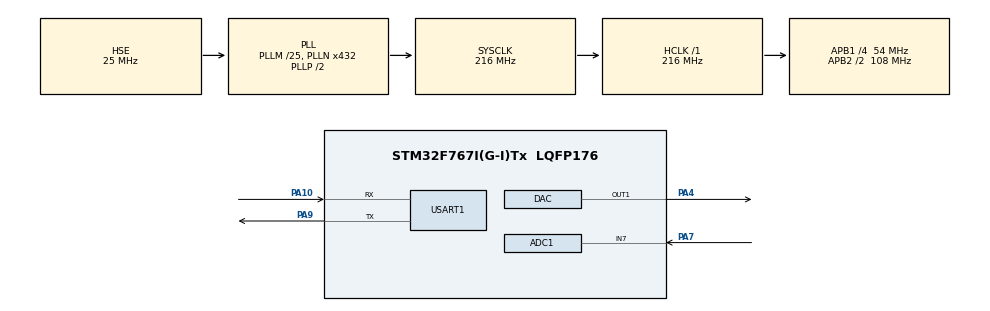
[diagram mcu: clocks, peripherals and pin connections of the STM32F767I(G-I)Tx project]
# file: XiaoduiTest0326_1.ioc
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ADC1.Channel-0\#ChannelRegularConversion=ADC_CHANNEL_7
ADC1.ContinuousConvMode=DISABLE
ADC1.DMAContinuousRequests=ENABLE
ADC1.ExternalTrigConv=ADC_EXTERNALTRIGCONV_T5_TRGO
ADC1.NbrOfConversionFlag=1
ADC1.Rank-0\#ChannelRegularConversion=1
ADC1.SamplingTime-0\#ChannelRegularConversion=ADC_SAMPLETIME_3CYCLES
ADC1.ScanConvMode=ADC_SCAN_DISABLE
ADC1.master=1
DAC.DAC_Trigger=DAC_TRIGGER_T7_TRGO
Dma.ADC1.0.Direction=DMA_PERIPH_TO_MEMORY
Dma.ADC1.0.FIFOMode=DMA_FIFOMODE_DISABLE
Dma.ADC1.0.Instance=DMA2_Stream0
Dma.ADC1.0.MemDataAlignment=DMA_MDATAALIGN_HALFWORD
Dma.ADC1.0.MemInc=DMA_MINC_ENABLE
Dma.ADC1.0.Mode=DMA_CIRCULAR
Dma.ADC1.0.PeriphDataAlignment=DMA_PDATAALIGN_HALFWORD
Dma.ADC1.0.PeriphInc=DMA_PINC_DISABLE
Dma.ADC1.0.Priority=DMA_PRIORITY_LOW
Dma.DAC1.1.Direction=DMA_MEMORY_TO_PERIPH
Dma.DAC1.1.FIFOMode=DMA_FIFOMODE_DISABLE
Dma.DAC1.1.Instance=DMA1_Stream5
Dma.DAC1.1.MemDataAlignment=DMA_MDATAALIGN_HALFWORD
Dma.DAC1.1.MemInc=DMA_MINC_ENABLE
Dma.DAC1.1.Mode=DMA_CIRCULAR
Dma.DAC1.1.PeriphDataAlignment=DMA_PDATAALIGN_HALFWORD
Dma.DAC1.1.PeriphInc=DMA_PINC_DISABLE
Dma.DAC1.1.Priority=DMA_PRIORITY_LOW
Dma.Request0=ADC1
Dma.Request1=DAC1
Mcu.Family=STM32F7
Mcu.Name=STM32F767I(G-I)Tx
Mcu.Package=LQFP176
NVIC.ADC_IRQn=true\:2\:0\:true\:false\:true\:true\:true
NVIC.DMA1_Stream5_IRQn=true\:0\:0\:false\:false\:true\:false\:true
NVIC.DMA2_Stream0_IRQn=true\:0\:0\:false\:false\:true\:false\:true
NVIC.PriorityGroup=NVIC_PRIORITYGROUP_4
NVIC.TIM3_IRQn=true\:1\:0\:true\:false\:true\:true\:true
NVIC.TIM5_IRQn=true\:4\:0\:true\:false\:true\:true\:true
NVIC.USART1_IRQn=true\:3\:0\:true\:false\:true\:true\:true
PA10.Mode=Asynchronous
PA10.Signal=USART1_RX
PA4.Signal=COMP_DAC1_group
PA7.Signal=ADCx_IN7
PA9.Mode=Asynchronous
PA9.Signal=USART1_TX
PH0/OSC_IN.Mode=HSE-External-Oscillator
PH0/OSC_IN.Signal=RCC_OSC_IN
PH1/OSC_OUT.Mode=HSE-External-Oscillator
PH1/OSC_OUT.Signal=RCC_OSC_OUT
ProjectManager.HeapSize=0x200
ProjectManager.StackSize=0x400
ProjectManager.TargetToolchain=STM32CubeIDE
RCC.AHBFreq_Value=216000000
RCC.APB1CLKDivider=RCC_HCLK_DIV4
RCC.APB1Freq_Value=54000000
RCC.APB1TimFreq_Value=108000000
RCC.APB2CLKDivider=RCC_HCLK_DIV2
RCC.APB2Freq_Value=108000000
RCC.APB2TimFreq_Value=216000000
RCC.CortexFreq_Value=216000000
RCC.HCLKFreq_Value=216000000
RCC.HSE_VALUE=25000000
RCC.HSI_VALUE=16000000
RCC.LSE_VALUE=32768
RCC.PLLM=25
RCC.PLLN=432
RCC.PLLSourceVirtual=RCC_PLLSOURCE_HSE
RCC.SYSCLKFreq_VALUE=216000000
RCC.SYSCLKSource=RCC_SYSCLKSOURCE_PLLCLK
RCC.USBFreq_Value=216000000
RCC.VCOOutputFreq_Value=432000000
SH.ADCx_IN7.0=ADC1_IN7,IN7
SH.COMP_DAC1_group.0=DAC_OUT1,DAC_OUT1
TIM3.Period=9999
TIM3.Prescaler=10799
TIM5.Period=10545
TIM5.Prescaler=1
TIM5.TIM_MasterOutputTrigger=TIM_TRGO_UPDATE
TIM7.Period=10799
TIM7.Prescaler=0
TIM7.TIM_MasterOutputTrigger=TIM_TRGO_UPDATE
USART1.VirtualMode-Asynchronous=VM_ASYNC
VP_TIM3_VS_ClockSourceINT.Mode=Internal
VP_TIM5_VS_ClockSourceINT.Mode=Internal
VP_TIM7_VS_ClockSourceINT.Mode=Enable_Timer
board=custom

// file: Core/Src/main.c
/* USER CODE BEGIN Header */
/**
  ******************************************************************************
  * @file           : main.c
  * @brief          : Main program body
  ******************************************************************************
  * @attention
  *
  * <h2><center>&copy; Copyright (c) 2021 STMicroelectronics.
  * All rights reserved.</center></h2>
  *
  * This software component is licensed by ST under BSD 3-Clause license,
  * the "License"; You may not use this file except in compliance with the
  * License. You may obtain a copy of the License at:
  *                        opensource.org/licenses/BSD-3-Clause
  *
  ******************************************************************************
  */
/* USER CODE END Header */
#include "main.h"
#include "adc.h"
#include "dac.h"
#include "dma.h"
#include "tim.h"
#include "usart.h"
#include "gpio.h"

/* USER CODE BEGIN Includes */
#include "stdio.h"
#include "string.h"
#include "arm_math.h"
/* USER CODE END Includes */

/* USER CODE BEGIN PD */
#define print(X) HAL_UART_Transmit(&huart1,(uint8_t *)X,strlen(X),1000);
#define FFT_LENGTH 4096
float fft_inputbuf[FFT_LENGTH*2];      // fft输入数组
float fft_outputbuf[FFT_LENGTH];       // fft输出数组
arm_cfft_radix4_instance_f32 scfft;
/* USER CODE END PD */

/* USER CODE BEGIN PM */
uint16_t graph[200];
void Generatre_graph(void)
{
    for (int i=0;i<100;i++)
        graph[i]=(uint16_t)(2.1/3.3*4096.0);
    for (int i=100;i<200;i++)
        graph[i]=0;
}
/* USER CODE END PM */

/* USER CODE BEGIN PV */
uint16_t ADC_Value[FFT_LENGTH];
int i,j;char outputValue[20];
char freq[30],volt[20],resultADC[20],Result[20];   // voltage(电压)
float frequency,voltage;
float Vpp,Vmax,Vmin,temp;
uint8_t convertEnable;
uint16_t outFreq;  // 存放DAC输出的频率
int fft_outMax;   // 后�?�指示整个fft_out数组中最大一项的index
float resultFreq;  // 存放输出频率结果
// 它对应的就是基频，也即这个信号的频率�??????
/* USER CODE END PV */

void SystemClock_Config(void);

int main(void)
{

  /* MCU Configuration--------------------------------------------------------*/

  /* Reset of all peripherals, Initializes the Flash interface and the Systick. */
  HAL_Init();

  /* Configure the system clock */
  SystemClock_Config();

  /* Initialize all configured peripherals */
  MX_GPIO_Init();
  MX_DMA_Init();
  MX_ADC1_Init();
  MX_TIM5_Init();
  MX_USART1_UART_Init();
  MX_DAC_Init();
  MX_TIM7_Init();
  MX_TIM3_Init();
  /* USER CODE BEGIN 2 */
  HAL_TIM_Base_Start(&htim5);    // ADC
  HAL_TIM_Base_Start(&htim7);    // DAC
  HAL_TIM_Base_Start_IT(&htim3);
  HAL_ADC_Start_DMA(&hadc1,(uint32_t *)ADC_Value,FFT_LENGTH);
  arm_cfft_radix4_init_f32(&scfft, FFT_LENGTH, 0, 1);
  print("AAA")
  Generatre_graph();
  TIM7->PSC=0;
  outFreq=589;
  TIM7->ARR=540000/outFreq;
//  当输出频率要设为1KHz时，时钟频率应是200*1k=20W.
  HAL_DAC_Start_DMA(&hdac,DAC_CHANNEL_1,(uint32_t *)graph,200,DAC_ALIGN_12B_R);

  /* USER CODE END 2 */

  /* Infinite loop */
  /* USER CODE BEGIN WHILE */
  while (1)
  {
      if (convertEnable)
      {
          Vpp=0;Vmax=-1;Vmin=100;
          for (i = 0; i < FFT_LENGTH; i++)
          {
              temp=ADC_Value[i]*3.3/4096.0;
              if (temp>Vmax) Vmax=temp;
              if (temp<Vmin) Vmin=temp;
              fft_inputbuf[2 * i] = ADC_Value[i];   // 实部
              fft_inputbuf[2 * i + 1] = 0;            // 虚部，设�????0
          }
          arm_cfft_radix4_f32(&scfft, fft_inputbuf); // 计算
          arm_cmplx_mag_f32(fft_inputbuf, fft_outputbuf, FFT_LENGTH);
          // 运算结果求模，得到幅�?????
          fft_outMax = 1;
          for (i = 2; i <= FFT_LENGTH / 2; i++) {
              if (fft_outputbuf[i] > fft_outputbuf[fft_outMax])
                  fft_outMax = i;
          }
          resultFreq=1.25*fft_outMax;
          Vpp=Vmax-Vmin;
          sprintf(freq, "Freq:%.2fHz\r",resultFreq);
          sprintf(volt,"Vpp:%.2fV\r\r",Vpp);
          print(freq)
          print(volt)
          convertEnable=0;
      }
    /* USER CODE END WHILE */

  }
}

void SystemClock_Config(void)
{
  RCC_OscInitTypeDef RCC_OscInitStruct = {0};
  RCC_ClkInitTypeDef RCC_ClkInitStruct = {0};
  RCC_PeriphCLKInitTypeDef PeriphClkInitStruct = {0};

  /** Configure the main internal regulator output voltage
  */
  __HAL_RCC_PWR_CLK_ENABLE();
  __HAL_PWR_VOLTAGESCALING_CONFIG(PWR_REGULATOR_VOLTAGE_SCALE1);
  /** Initializes the RCC Oscillators according to the specified parameters
  * in the RCC_OscInitTypeDef structure.
  */
  RCC_OscInitStruct.OscillatorType = RCC_OSCILLATORTYPE_HSE;
  RCC_OscInitStruct.HSEState = RCC_HSE_ON;
  RCC_OscInitStruct.PLL.PLLState = RCC_PLL_ON;
  RCC_OscInitStruct.PLL.PLLSource = RCC_PLLSOURCE_HSE;
  RCC_OscInitStruct.PLL.PLLM = 25;
  RCC_OscInitStruct.PLL.PLLN = 432;
  RCC_OscInitStruct.PLL.PLLP = RCC_PLLP_DIV2;
  RCC_OscInitStruct.PLL.PLLQ = 2;
  if (HAL_RCC_OscConfig(&RCC_OscInitStruct) != HAL_OK)
  {
    Error_Handler();
  }
  /** Activate the Over-Drive mode
  */
  if (HAL_PWREx_EnableOverDrive() != HAL_OK)
  {
    Error_Handler();
  }
  /** Initializes the CPU, AHB and APB buses clocks
  */
  RCC_ClkInitStruct.ClockType = RCC_CLOCKTYPE_HCLK|RCC_CLOCKTYPE_SYSCLK
                              |RCC_CLOCKTYPE_PCLK1|RCC_CLOCKTYPE_PCLK2;
  RCC_ClkInitStruct.SYSCLKSource = RCC_SYSCLKSOURCE_PLLCLK;
  RCC_ClkInitStruct.AHBCLKDivider = RCC_SYSCLK_DIV1;
  RCC_ClkInitStruct.APB1CLKDivider = RCC_HCLK_DIV4;
  RCC_ClkInitStruct.APB2CLKDivider = RCC_HCLK_DIV2;

  if (HAL_RCC_ClockConfig(&RCC_ClkInitStruct, FLASH_LATENCY_7) != HAL_OK)
  {
    Error_Handler();
  }
  PeriphClkInitStruct.PeriphClockSelection = RCC_PERIPHCLK_USART1;
  PeriphClkInitStruct.Usart1ClockSelection = RCC_USART1CLKSOURCE_PCLK2;
  if (HAL_RCCEx_PeriphCLKConfig(&PeriphClkInitStruct) != HAL_OK)
  {
    Error_Handler();
  }
}

/* USER CODE BEGIN 4 */
void HAL_ADC_ConvCpltCallback(ADC_HandleTypeDef* hadc)
{
    convertEnable=1;
}
void HAL_TIM_PeriodElapsedCallback(TIM_HandleTypeDef *htim)
{
    if (htim->Instance==TIM3)
    {

    }
}
/* USER CODE END 4 */

void Error_Handler(void)
{
  __disable_irq();
  while (1)
  {
  }
}

/************************ (C) COPYRIGHT STMicroelectronics *****END OF FILE****/
